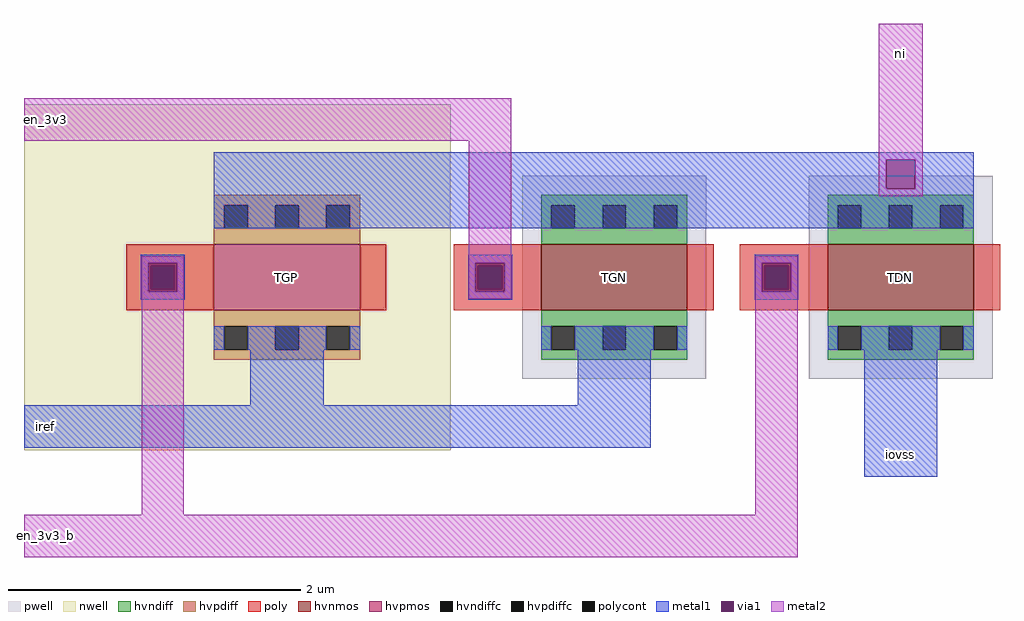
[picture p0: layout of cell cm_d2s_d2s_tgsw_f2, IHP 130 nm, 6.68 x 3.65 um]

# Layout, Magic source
magic
tech ihp-sg13cmos5l
magscale 1 2
<< nwell >>
rect -260 -124 324 350
<< poly >>
rect -120 129 -20 158
rect -120 97 -86 129
rect -54 97 -20 129
rect -120 68 -20 97
rect 328 129 428 158
rect 328 97 362 129
rect 394 97 428 129
rect 328 68 428 97
rect 720 129 820 158
rect 720 97 754 129
rect 786 97 820 129
rect 720 68 820 97
<< polycont >>
rect -86 97 -54 129
rect 362 97 394 129
rect 754 97 786 129
<< metal1 >>
rect 0 274 1040 284
rect 0 234 920 274
rect 960 234 1040 274
rect 0 180 1040 234
rect -100 133 -40 144
rect -100 93 -90 133
rect -50 93 -40 133
rect -100 82 -40 93
rect 348 133 408 144
rect 348 93 358 133
rect 398 93 408 133
rect 348 82 408 93
rect 740 133 800 144
rect 740 93 750 133
rect 790 93 800 133
rect 740 82 800 93
rect 50 -62 150 46
rect 498 -62 598 46
rect -260 -120 598 -62
rect 890 -160 990 46
<< via1 >>
rect 920 234 960 274
rect -90 129 -50 133
rect -90 97 -86 129
rect -86 97 -54 129
rect -54 97 -50 129
rect -90 93 -50 97
rect 358 129 398 133
rect 358 97 362 129
rect 362 97 394 129
rect 394 97 398 129
rect 358 93 398 97
rect 750 129 790 133
rect 750 97 754 129
rect 754 97 786 129
rect 786 97 790 129
rect 750 93 790 97
<< metal2 >>
rect -260 300 407 358
rect -99 133 -41 142
rect -99 93 -90 133
rect -50 93 -41 133
rect -99 -212 -41 93
rect 349 133 407 300
rect 910 274 970 460
rect 910 234 920 274
rect 960 234 970 274
rect 910 224 970 234
rect 349 93 358 133
rect 398 93 407 133
rect 349 84 407 93
rect 741 133 799 142
rect 741 93 750 133
rect 790 93 799 133
rect 741 -212 799 93
rect -260 -270 799 -212
use cm_d2s_nmosHV_1  cm_d2s_nmosHV_1_0
transform 0 1 840 -1 0 226
box -26 -36 252 236
use cm_d2s_nmosHV_1  cm_d2s_nmosHV_1_1
transform 0 1 448 -1 0 226
box -26 -36 252 236
use cm_d2s_pmosHV  cm_d2s_pmosHV_0
transform 0 1 0 -1 0 226
box -124 -124 350 324
<< labels >>
rlabel comment s 100 113 100 113 4 TGP
rlabel comment s 548 113 548 113 4 TGN
rlabel comment s 940 113 940 113 4 TDN
rlabel metal2 s 910 380 970 460 4 ni
port 2 nsew
rlabel metal2 s -260 -270 -200 -212 4 en_3v3_b
port 3 nsew
rlabel metal2 s -260 300 -200 358 4 en_3v3
port 4 nsew
rlabel metal1 s 890 -160 990 -100 4 iovss
port 5 nsew
rlabel metal1 s -260 -120 -200 -62 4 iref
port 6 nsew
<< properties >>
string GDS_END 245842
string GDS_FILE custom_io/gds/sg13cmos5l_IOPadDiff2Single.uniq.gds
string GDS_START 243164
<< end >>

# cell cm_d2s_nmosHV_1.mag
magic
tech ihp-sg13cmos5l
magscale 1 2
<< pwell >>
rect -26 -26 252 226
<< hvnmos >>
rect 68 0 158 200
<< hvndiff >>
rect 0 186 68 200
rect 0 154 14 186
rect 46 154 68 186
rect 0 116 68 154
rect 0 84 14 116
rect 46 84 68 116
rect 0 46 68 84
rect 0 14 14 46
rect 46 14 68 46
rect 0 0 68 14
rect 158 186 226 200
rect 158 154 180 186
rect 212 154 226 186
rect 158 116 226 154
rect 158 84 180 116
rect 212 84 226 116
rect 158 46 226 84
rect 158 14 180 46
rect 212 14 226 46
rect 158 0 226 14
<< hvndiffc >>
rect 14 154 46 186
rect 14 84 46 116
rect 14 14 46 46
rect 180 154 212 186
rect 180 84 212 116
rect 180 14 212 46
<< poly >>
rect 68 200 158 236
rect 68 -36 158 0
<< metal1 >>
rect 14 186 46 200
rect 14 116 46 154
rect 14 46 46 84
rect 14 0 46 14
rect 180 186 212 200
rect 180 116 212 154
rect 180 46 212 84
rect 180 0 212 14
<< labels >>
flabel comment s 113 100 113 100 0 FreeSans 200 90 0 0 nmosHV
<< properties >>
string GDS_END 53294
string GDS_FILE custom_io/gds/sg13cmos5l_IOPadDiff2Single.uniq.gds
string GDS_START 52058
<< end >>

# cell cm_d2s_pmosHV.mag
magic
tech ihp-sg13cmos5l
magscale 1 2
<< nwell >>
rect -124 -124 350 324
<< hvpmos >>
rect 68 0 158 200
<< hvpdiff >>
rect 0 186 68 200
rect 0 154 14 186
rect 46 154 68 186
rect 0 116 68 154
rect 0 84 14 116
rect 46 84 68 116
rect 0 46 68 84
rect 0 14 14 46
rect 46 14 68 46
rect 0 0 68 14
rect 158 186 226 200
rect 158 154 180 186
rect 212 154 226 186
rect 158 116 226 154
rect 158 84 180 116
rect 212 84 226 116
rect 158 46 226 84
rect 158 14 180 46
rect 212 14 226 46
rect 158 0 226 14
<< hvpdiffc >>
rect 14 154 46 186
rect 14 84 46 116
rect 14 14 46 46
rect 180 154 212 186
rect 180 84 212 116
rect 180 14 212 46
<< poly >>
rect 68 200 158 236
rect 68 -36 158 0
<< metal1 >>
rect 14 186 46 200
rect 14 116 46 154
rect 14 46 46 84
rect 14 0 46 14
rect 180 186 212 200
rect 180 116 212 154
rect 180 46 212 84
rect 180 0 212 14
<< labels >>
flabel comment s 113 100 113 100 0 FreeSans 200 90 0 0 pmosHV
<< properties >>
string GDS_END 47138
string GDS_FILE custom_io/gds/sg13cmos5l_IOPadDiff2Single.uniq.gds
string GDS_START 45776
<< end >>
